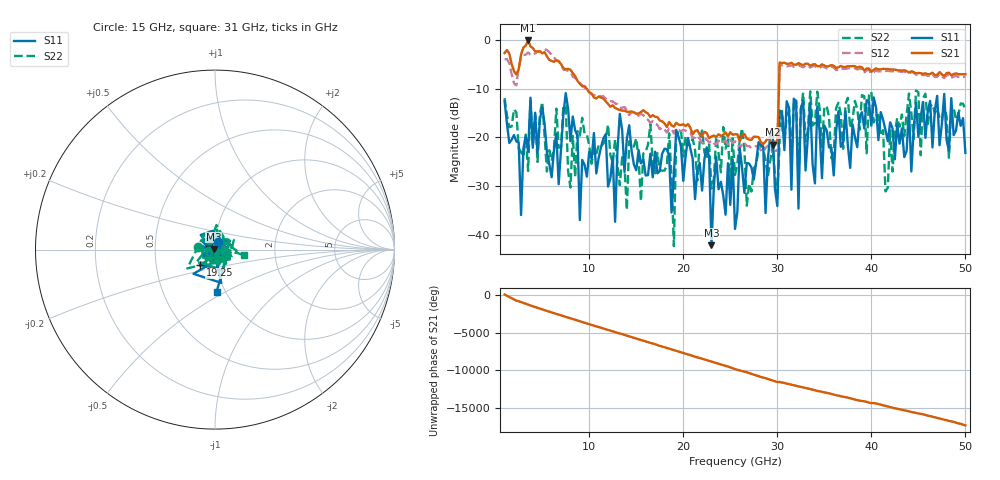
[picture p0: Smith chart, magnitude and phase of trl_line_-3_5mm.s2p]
# GHz S RI R 50.0
!freq ReS11 ImS11 ReS21 ImS21 ReS12 ImS12 ReS22 ImS22
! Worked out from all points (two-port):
!   197 points, 1 GHz to 50 GHz, reference 50 ohm
!   highest |S21| = -0.15 dB at 3.5 GHz (marker M1); lowest = -21.5 dB at 29.5 GHz (marker M2)
!   |S21| within 3 dB of the highest: start of sweep to 1.536 GHz; 2.739 GHz to 5.427 GHz (2.688 GHz wide, 65.8 % of centre)
!   lowest |S11| = -42.1 dB at 23 GHz (marker M3), VSWR 1.02, Z = 49.3 + j0.417 ohm
!   |S11| at or under -10 dB: start of sweep to end of sweep
!   |S22| runs from -42.3 to -10.4 dB; largest |S21 - S12| = 1.5
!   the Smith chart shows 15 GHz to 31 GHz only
!   S11 on the Smith chart (normalised r, x): 15 GHz: 1.02, +0.09; 19.25 GHz: 0.84, -0.15; 31 GHz: 0.91, -0.45
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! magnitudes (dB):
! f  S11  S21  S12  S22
! 1 GHz  -12.6  -2.7  -4.0  -11.9
! 3.5 GHz  -22.9  -0.2  -2.6  -26.9
! 9.25 GHz  -24.6  -9.5  -9.4  -16.0
! 15 GHz  -26.7  -15.2  -15.3  -20.2
! 17.5 GHz  -26.9  -16.5  -18.3  -26.6
! 18.5 GHz  -23.8  -16.8  -18.1  -19.2
! 19 GHz  -27.5  -17.8  -19.2  -42.3
! 19.25 GHz  -18.5  -17.0  -18.2  -19.8
! 22.5 GHz  -22.0  -19.1  -20.4  -24.4
! 23 GHz  -42.1  -19.8  -20.7  -30.5
! 23.5 GHz  -23.9  -19.9  -21.4  -19.9
! 25.5 GHz  -38.7  -19.3  -20.8  -27.7
! 29.5 GHz  -18.9  -21.5  -23.1  -21.7
! 30 GHz  -34.0  -21.1  -22.7  -32.4
! 31 GHz  -12.6  -4.9  -5.4  -15.8
! 31.5 GHz  -30.7  -4.7  -5.2  -24.0
! 32 GHz  -12.7  -5.1  -5.6  -12.1
! 32.25 GHz  -34.6  -4.8  -5.2  -29.1
! 32.75 GHz  -12.5  -5.2  -5.7  -10.8
! 33.75 GHz  -25.5  -5.1  -5.5  -17.6
! 42 GHz  -16.9  -6.1  -6.5  -18.6
! 50 GHz  -23.2  -7.1  -7.6  -14.4
